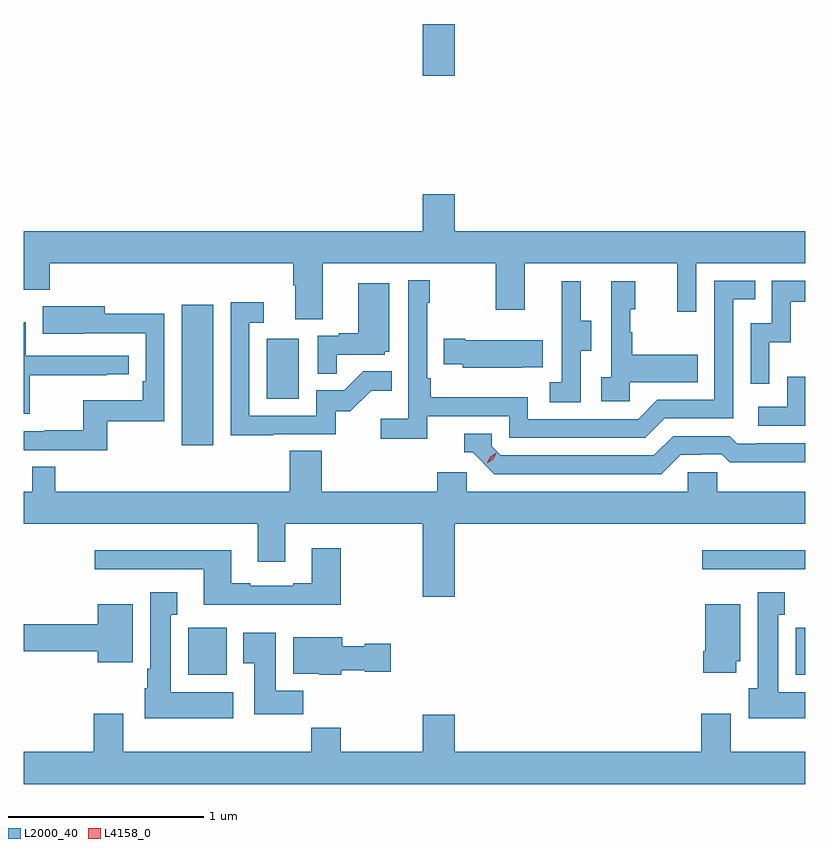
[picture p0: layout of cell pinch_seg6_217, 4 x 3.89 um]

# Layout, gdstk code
import gdstk
lib = gdstk.Library(unit=1e-6, precision=1e-09)
def R(c, l, rs):  # rectangles x0, y0, x1, y1
    for r in rs: c.add(gdstk.rectangle(r[:2], r[2:], *l))
def P(c, l, *ps):  # polygons
    for p in ps: c.add(gdstk.Polygon(p, *l))
L2000_40 = (2000, 40)
L4158_0 = (4158, 0)

pinch_seg6_217 = lib.new_cell('pinch_seg6_217')
R(pinch_seg6_217, L2000_40, [(1110.86,926.582,1111.057,926.824), (1113.968,926.582,1114.018,926.824), (1113.489,927.123,1114.018,927.22), (1110.827,927.756,1110.988,928.477), (1111.262,927.996,1111.426,928.303), (1112.06,929.646,1112.224,929.912)])
P(pinch_seg6_217, L2000_40, [(1111.549,928.688),(1112.434,928.688),(1112.434,928.449),(1112.581,928.449),(1112.581,928.688),(1113.362,928.688),(1113.362,928.44),(1113.459,928.44),(1113.459,928.688),(1114.018,928.688),(1114.018,928.852),(1112.224,928.852),(1112.224,929.041),(1112.06,929.041),(1112.06,928.852),(1110.018,928.852),(1110.018,928.553),(1110.152,928.553),(1110.152,928.688),(1111.397,928.688),(1111.397,928.576),(1111.409,928.576),(1111.409,928.402),(1111.549,928.402)],
  [(1112.084,927.906),(1112.502,927.906),(1112.502,927.795),(1113.199,927.795),(1113.298,927.894),(1113.648,927.894),(1113.648,928.503),(1113.761,928.503),(1113.761,928.599),(1113.552,928.599),(1113.552,927.99),(1113.261,927.99),(1113.162,927.891),(1112.598,927.891),(1112.598,928.003),(1112.102,928.003),(1112.102,928.099),(1112.082,928.099),(1112.082,928.487),(1112.095,928.487),(1112.095,928.6),(1111.986,928.6),(1111.986,927.892),(1111.845,927.892),(1111.845,927.79),(1112.084,927.79)],
  [(1113.834,928.283),(1113.944,928.283),(1113.944,928.491),(1114.018,928.491),(1114.018,928.599),(1113.846,928.599),(1113.846,928.38),(1113.738,928.38),(1113.738,928.071),(1113.834,928.071)],
  [(1113.12,928.079),(1113.467,928.079),(1113.467,928.219),(1113.133,928.219),(1113.133,928.334),(1113.123,928.334),(1113.123,928.452),(1113.148,928.452),(1113.148,928.597),(1113.024,928.597),(1113.024,928.106),(1112.973,928.106),(1112.973,927.981),(1113.12,927.981)],
  [(1112.868,928.24),(1112.923,928.24),(1112.923,928.395),(1112.869,928.395),(1112.869,928.597),(1112.771,928.597),(1112.771,928.383),(1112.772,928.383),(1112.772,928.079),(1112.709,928.079),(1112.709,927.976),(1112.868,927.976)],
  [(1111.619,928.221),(1111.866,928.221),(1111.866,928.236),(1111.888,928.236),(1111.888,928.585),(1111.73,928.585),(1111.73,928.33),(1111.631,928.33),(1111.631,928.317),(1111.524,928.317),(1111.524,928.123),(1111.619,928.123)],
  [(1111.295,927.813),(1111.614,927.813),(1111.614,927.93),(1111.69,927.93),(1111.797,928.037),(1111.901,928.037),(1111.901,928.136),(1111.757,928.136),(1111.659,928.038),(1111.515,928.038),(1111.515,927.909),(1111.173,927.909),(1111.173,928.383),(1111.246,928.383),(1111.246,928.489),(1111.077,928.489),(1111.077,927.808),(1111.295,927.808)],
  [(1110.445,927.879),(1110.738,927.879),(1110.738,928.43),(1110.433,928.43),(1110.433,928.468),(1110.115,928.468),(1110.115,928.328),(1110.329,928.328),(1110.329,928.329),(1110.642,928.329),(1110.642,928.084),(1110.629,928.084),(1110.629,927.988),(1110.324,927.988),(1110.324,927.833),(1110.127,927.833),(1110.127,927.828),(1110.018,927.828),(1110.018,927.732),(1110.445,927.732)],
  [(1110.05,928.114),(1110.443,928.114),(1110.443,928.119),(1110.556,928.119),(1110.556,928.215),(1110.03,928.215),(1110.03,928.387),(1110.018,928.387),(1110.018,927.918),(1110.05,927.918)],
  [(1112.567,928.157),(1112.675,928.157),(1112.675,928.294),(1112.278,928.294),(1112.278,928.302),(1112.167,928.302),(1112.167,928.172),(1112.265,928.172),(1112.265,928.154),(1112.567,928.154)],
  [(1114.018,928.108),(1113.924,928.108),(1113.924,927.954),(1113.777,927.954),(1113.777,927.858),(1114.018,927.858)],
  [(1113.379,927.708),(1113.486,927.708),(1113.486,927.711),(1113.589,927.711),(1113.631,927.669),(1113.864,927.669),(1113.864,927.671),(1114.018,927.671),(1114.018,927.768),(1113.769,927.768),(1113.769,927.765),(1113.67,927.765),(1113.631,927.804),(1113.342,927.804),(1113.243,927.705),(1112.46,927.705),(1112.412,927.753),(1112.412,927.816),(1112.273,927.816),(1112.273,927.72),(1112.316,927.72),(1112.427,927.609),(1113.28,927.609)],
  [(1111.379,927.728),(1111.379,927.52),(1110.179,927.52),(1110.179,927.647),(1110.063,927.647),(1110.063,927.52),(1110.018,927.52),(1110.018,927.356),(1111.217,927.356),(1111.217,927.162),(1111.357,927.162),(1111.357,927.356),(1112.06,927.356),(1112.06,926.982),(1112.224,926.982),(1112.224,927.356),(1114.018,927.356),(1114.018,927.52),(1113.567,927.52),(1113.567,927.618),(1113.417,927.618),(1113.417,927.52),(1112.286,927.52),(1112.286,927.618),(1112.135,927.618),(1112.135,927.52),(1111.544,927.52),(1111.544,927.728)],
  [(1111.641,927.229),(1111.493,927.229),(1111.493,927.052),(1111.397,927.052),(1111.397,927.039),(1111.177,927.039),(1111.177,927.052),(1111.081,927.052),(1111.081,927.22),(1110.381,927.22),(1110.381,927.123),(1110.941,927.123),(1110.941,926.942),(1111.641,926.942)],
  [(1111.09,926.494),(1110.772,926.494),(1110.772,926.891),(1110.805,926.891),(1110.805,927.004),(1110.665,927.004),(1110.665,926.614),(1110.65,926.614),(1110.65,926.514),(1110.638,926.514),(1110.638,926.36),(1111.09,926.36)],
  [(1114.018,926.494),(1113.88,926.494),(1113.88,926.891),(1113.913,926.891),(1113.913,927.004),(1113.773,927.004),(1113.773,926.514),(1113.728,926.514),(1113.728,926.36),(1114.018,926.36)],
  [(1113.664,926.652),(1113.685,926.652),(1113.685,926.944),(1113.506,926.944),(1113.506,926.704),(1113.494,926.704),(1113.494,926.592),(1113.664,926.592)],
  [(1110.577,926.944),(1110.398,926.944),(1110.398,926.84),(1110.018,926.84),(1110.018,926.704),(1110.398,926.704),(1110.398,926.648),(1110.577,926.648)],
  [(1111.448,926.5),(1111.309,926.5),(1111.309,926.797),(1111.142,926.797),(1111.142,926.641),(1111.199,926.641),(1111.199,926.382),(1111.448,926.382)],
  [(1111.644,926.606),(1111.764,926.606),(1111.764,926.599),(1111.897,926.599),(1111.897,926.741),(1111.764,926.741),(1111.764,926.728),(1111.648,926.728),(1111.648,926.776),(1111.397,926.776),(1111.397,926.588),(1111.53,926.588),(1111.53,926.582),(1111.644,926.582)],
  [(1114.018,926.188),(1113.637,926.188),(1113.637,926.383),(1113.485,926.383),(1113.485,926.188),(1112.224,926.188),(1112.224,926.377),(1112.06,926.377),(1112.06,926.188),(1111.641,926.188),(1111.641,926.312),(1111.489,926.312),(1111.489,926.188),(1110.529,926.188),(1110.529,926.383),(1110.377,926.383),(1110.377,926.188),(1110.018,926.188),(1110.018,926.024),(1114.018,926.024)])
P(pinch_seg6_217, L4158_0, [(1112.391,927.666),(1112.391,927.666),(1112.406,927.698),(1112.436,927.718),(1112.437,927.718),(1112.437,927.718),(1112.421,927.685),(1112.391,927.666)])

lib.write_gds('pinch_seg6_217.gds')
